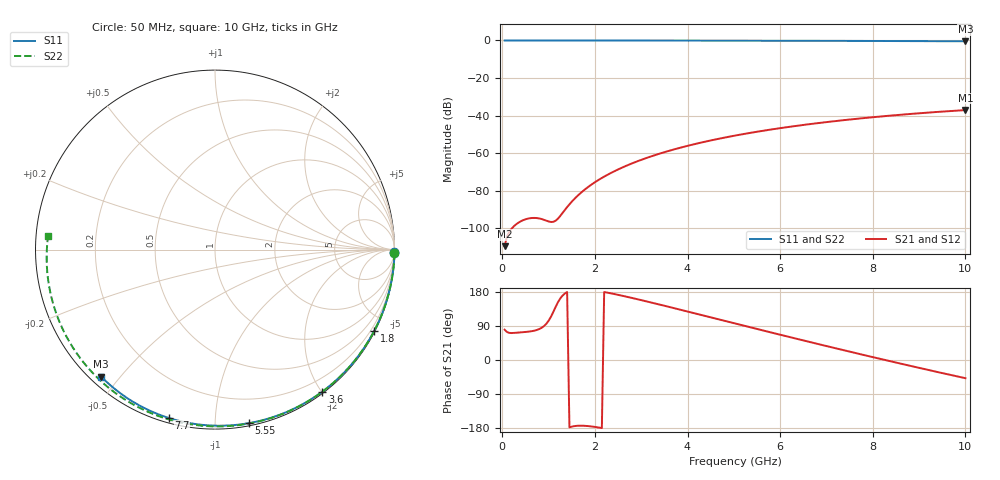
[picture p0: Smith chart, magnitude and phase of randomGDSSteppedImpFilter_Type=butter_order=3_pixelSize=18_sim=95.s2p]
! freq	dB(S11)	phase(S11)	dB(S12)	phase(S12)
!  dB(S21)	phase(S21)	dB(S22)	phase(S22)
!S-par simulation data
#  GHz  S  DB  R 50
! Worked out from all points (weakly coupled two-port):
!   200 points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, 50 MHz to 10 GHz, reference 50 ohm
!   highest |S21| = -37.06 dB at 10 GHz (marker M1); lowest = -109.5 dB at 50 MHz (marker M2)
!   lowest |S11| = -0.4 dB at 10 GHz (marker M3), VSWR 39.04, Z = 1.54 - j22.3 ohm
!   |S11| at or under -10 dB: nowhere
!   |S22| runs from -0.6 to 0.0 dB; largest |S21 - S12| = 0
!   S11 on the Smith chart (normalised r, x): 50 MHz: open; 1.8 GHz: 0.04, -4.16; 3.6 GHz: 0.02, -2.01; 5.55 GHz: 0.02, -1.21; 7.7 GHz: 0.02, -0.76; 10 GHz: 0.03, -0.45
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0.05  -0.00 -0.8  -109.50 80.0  -109.50 80.0  -0.00 -1.1
0.45  -0.01 -6.9  -95.66 73.4  -95.66 73.4  -0.01 -9.4
0.85  -0.02 -12.9  -95.06 85.0  -95.06 85.0  -0.02 -17.7
1.3  -0.02 -19.6  -91.85 169.8  -91.85 169.8  -0.03 -27.0
1.75  -0.03 -26.3  -79.98 -173.5  -79.98 -173.5  -0.05 -36.1
1.8  -0.03 -27.1  -78.99 -173.8  -78.99 -173.8  -0.05 -37.1
2.1  -0.04 -31.5  -73.91 -178.5  -73.91 -178.5  -0.05 -43.1
2.3  -0.04 -34.4  -71.12 177.1  -71.12 177.1  -0.06 -47.0
2.5  -0.05 -37.3  -68.66 172.0  -68.66 172.0  -0.06 -50.9
2.9  -0.06 -43.0  -64.48 160.9  -64.48 160.9  -0.08 -58.7
3.4  -0.07 -50.1  -60.22 146.2  -60.22 146.2  -0.09 -68.2
3.6  -0.07 -52.9  -58.75 140.1  -58.75 140.1  -0.10 -72.0
4.3  -0.09 -62.5  -54.32 118.7  -54.32 118.7  -0.12 -84.8
5.05  -0.11 -72.5  -50.52 95.6  -50.52 95.6  -0.15 -98.1
5.55  -0.13 -79.0  -48.38 80.3  -48.38 80.3  -0.18 -106.8
6.1  -0.15 -85.9  -46.32 63.7  -46.32 63.7  -0.21 -116.3
6.7  -0.18 -93.4  -44.35 45.7  -44.35 45.7  -0.25 -126.4
7.7  -0.24 -105.4  -41.58 16.2  -41.58 16.2  -0.33 -143.4
8.35  -0.29 -113.0  -40.07 -2.5  -40.07 -2.5  -0.39 -154.6
9.2  -0.36 -122.8  -38.39 -26.3  -38.39 -26.3  -0.49 -169.7
9.6  -0.40 -127.3  -37.70 -37.3  -37.70 -37.3  -0.55 -177.1
10  -0.45 -131.8  -37.06 -48.0  -37.06 -48.0  -0.60 175.2
